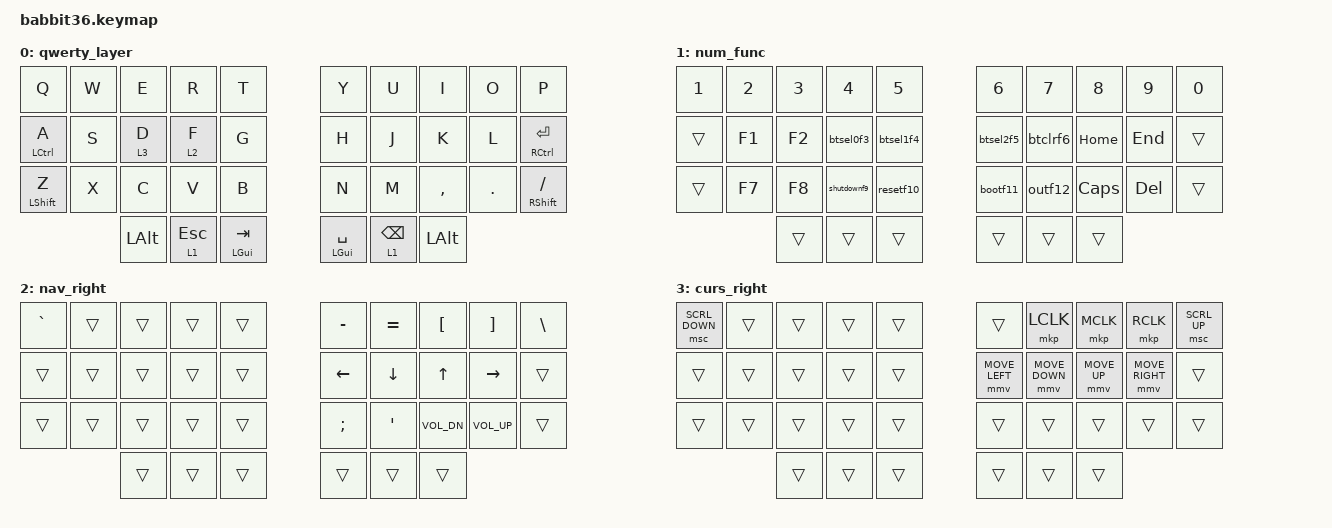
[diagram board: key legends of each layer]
#include <behaviors.dtsi>
#include <dt-bindings/zmk/bt.h>
#include <dt-bindings/zmk/keys.h>
#include <dt-bindings/zmk/outputs.h>
#include <dt-bindings/zmk/pointing.h>

// Using layer taps on thumbs, having quick tap as well helps w/ repeating space/backspace

&mt {
    tapping-term-ms = <300>;
    quick-tap-ms = <300>;
    flavor = "balanced";
};

&lt {
    tapping-term-ms = <300>;
    quick-tap-ms = <300>;
    flavor = "balanced";
};

/ {
    behaviors {
        btsel0f3: btsel0f3 {
            compatible = "zmk,behavior-mod-morph";
            label = "BTSEL0F3";
            bindings = <&kp F3>, <&bt BT_SEL 0>;

            #binding-cells = <0>;
            mods = <(MOD_LGUI)>;
        };

        btsel1f4: btsel1f4 {
            compatible = "zmk,behavior-mod-morph";
            label = "BTSEL1F4";
            bindings = <&kp F4>, <&bt BT_SEL 1>;

            #binding-cells = <0>;
            mods = <(MOD_LGUI)>;
        };

        btsel2f5: btsel2f5 {
            compatible = "zmk,behavior-mod-morph";
            label = "BTSEL2F5";
            bindings = <&kp F5>, <&bt BT_SEL 2>;

            #binding-cells = <0>;
            mods = <(MOD_LGUI)>;
        };

        btclrf6: btclrf6 {
            compatible = "zmk,behavior-mod-morph";
            label = "BTCLRF6";
            bindings = <&kp F6>, <&bt BT_CLR>;

            #binding-cells = <0>;
            mods = <(MOD_LGUI)>;
        };

        resetf10: resetf10 {
            compatible = "zmk,behavior-mod-morph";
            label = "RESETF10";
            bindings = <&kp F10>, <&sys_reset>;

            #binding-cells = <0>;
            mods = <(MOD_LGUI)>;
        };

        bootf11: bootf11 {
            compatible = "zmk,behavior-mod-morph";
            label = "BOOTF11";
            bindings = <&kp F11>, <&bootloader>;

            #binding-cells = <0>;
            mods = <(MOD_LGUI)>;
        };

        shutdownf9: shutdownf9 {
            compatible = "zmk,behavior-mod-morph";
            label = "SHUTDOWNF9";
            bindings = <&kp F9>, <&soft_off>;

            #binding-cells = <0>;
            mods = <(MOD_LGUI)>;
        };

        outf12: outf12 {
            compatible = "zmk,behavior-mod-morph";
            label = "OUTF12";
            bindings = <&kp F12>, <&out OUT_TOG>;

            #binding-cells = <0>;
            mods = <(MOD_LGUI)>;
        };
    };

    keymap {
        compatible = "zmk,keymap";

        qwerty_layer {
            bindings = <
&kp Q             &kp W  &kp E         &kp R         &kp T         &kp Y           &kp U            &kp I         &kp O    &kp P
&mt LCTRL A       &kp S  &lt 3 D       &lt 2 F       &kp G         &kp H           &kp J            &kp K         &kp L    &mt RCTRL ENTER
&mt LEFT_SHIFT Z  &kp X  &kp C         &kp V         &kp B         &kp N           &kp M            &kp COMMA     &kp DOT  &mt RIGHT_SHIFT SLASH
                         &kp LEFT_ALT  &lt 1 ESCAPE  &mt LGUI TAB  &mt LGUI SPACE  &lt 1 BACKSPACE  &kp LEFT_ALT
            >;
        };

        num_func {
            bindings = <
&kp NUMBER_1  &kp NUMBER_2  &kp NUMBER_3  &kp NUMBER_4  &kp NUMBER_5  &kp NUMBER_6  &kp NUMBER_7  &kp NUMBER_8  &kp NUMBER_9  &kp NUMBER_0
&trans        &kp F1        &kp F2        &btsel0f3     &btsel1f4     &btsel2f5     &btclrf6      &kp HOME      &kp END       &trans
&trans        &kp F7        &kp F8        &shutdownf9   &resetf10     &bootf11      &outf12       &kp CAPSLOCK  &kp DELETE    &trans
                            &trans        &trans        &trans        &trans        &trans        &trans
            >;
        };

        nav_right {
            bindings = <
&kp GRAVE  &trans  &trans  &trans  &trans  &kp MINUS  &kp EQUAL         &kp LEFT_BRACKET  &kp RIGHT_BRACKET  &kp BACKSLASH
&trans     &trans  &trans  &trans  &trans  &kp LEFT   &kp DOWN          &kp UP            &kp RIGHT          &trans
&trans     &trans  &trans  &trans  &trans  &kp SEMI   &kp SINGLE_QUOTE  &kp C_VOL_DN      &kp C_VOL_UP       &trans
                   &trans  &trans  &trans  &trans     &trans            &trans
            >;
        };

        curs_right {
            bindings = <
&msc SCRL_DOWN  &trans  &trans  &trans  &trans  &trans          &mkp LCLK       &mkp MCLK     &mkp RCLK        &msc SCRL_UP
&trans          &trans  &trans  &trans  &trans  &mmv MOVE_LEFT  &mmv MOVE_DOWN  &mmv MOVE_UP  &mmv MOVE_RIGHT  &trans
&trans          &trans  &trans  &trans  &trans  &trans          &trans          &trans        &trans           &trans
                        &trans  &trans  &trans  &trans          &trans          &trans
            >;
        };
    };
};
